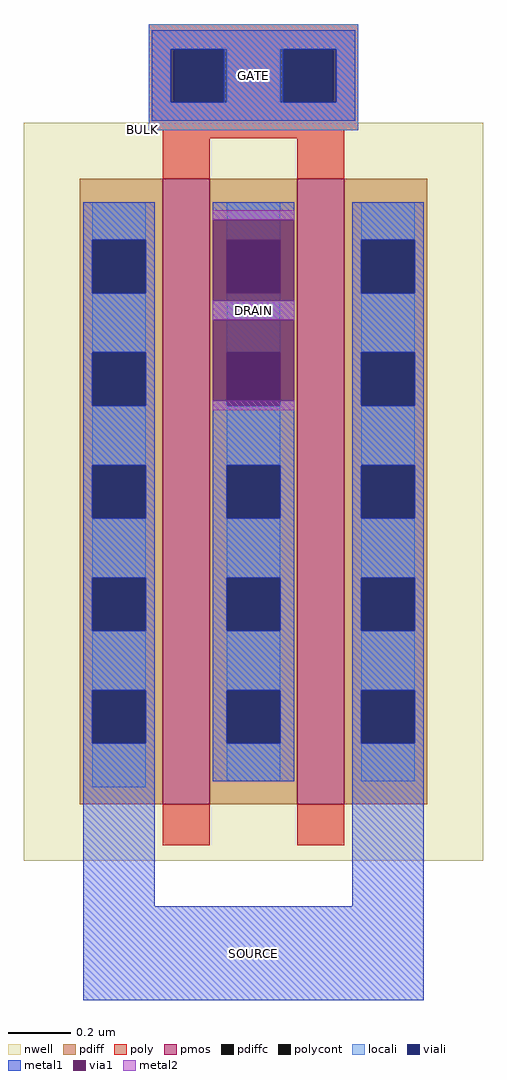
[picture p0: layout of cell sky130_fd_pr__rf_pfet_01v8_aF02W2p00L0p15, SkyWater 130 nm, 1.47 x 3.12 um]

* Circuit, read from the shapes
.subckt sky130_fd_pr__rf_pfet_01v8_aF02W2p00L0p15 DRAIN GATE SOURCE BULK
XM1 DRAIN GATE SOURCE BULK sky130_fd_pr__pfet_01v8 w=2 l=0.15 m=2
.ends

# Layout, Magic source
magic
tech sky130A
magscale 1 2
<< nwell >>
rect 0 0 294 472
<< pmos >>
rect 89 36 119 436
rect 175 36 205 436
<< pdiff >>
rect 36 397 89 436
rect 36 363 44 397
rect 78 363 89 397
rect 36 325 89 363
rect 36 291 44 325
rect 78 291 89 325
rect 36 253 89 291
rect 36 219 44 253
rect 78 219 89 253
rect 36 181 89 219
rect 36 147 44 181
rect 78 147 89 181
rect 36 109 89 147
rect 36 75 44 109
rect 78 75 89 109
rect 36 36 89 75
rect 119 397 175 436
rect 119 363 130 397
rect 164 363 175 397
rect 119 325 175 363
rect 119 291 130 325
rect 164 291 175 325
rect 119 253 175 291
rect 119 219 130 253
rect 164 219 175 253
rect 119 181 175 219
rect 119 147 130 181
rect 164 147 175 181
rect 119 109 175 147
rect 119 75 130 109
rect 164 75 175 109
rect 119 36 175 75
rect 205 397 258 436
rect 205 363 216 397
rect 250 363 258 397
rect 205 325 258 363
rect 205 291 216 325
rect 250 291 258 325
rect 205 253 258 291
rect 205 219 216 253
rect 250 219 258 253
rect 205 181 258 219
rect 205 147 216 181
rect 250 147 258 181
rect 205 109 258 147
rect 205 75 216 109
rect 250 75 258 109
rect 205 36 258 75
<< pdiffc >>
rect 44 363 78 397
rect 44 291 78 325
rect 44 219 78 253
rect 44 147 78 181
rect 44 75 78 109
rect 130 363 164 397
rect 130 291 164 325
rect 130 219 164 253
rect 130 147 164 181
rect 130 75 164 109
rect 216 363 250 397
rect 216 291 250 325
rect 216 219 250 253
rect 216 147 250 181
rect 216 75 250 109
<< poly >>
rect 80 519 214 535
rect 80 485 96 519
rect 130 485 164 519
rect 198 485 214 519
rect 80 467 214 485
rect 89 462 205 467
rect 89 436 119 462
rect 175 436 205 462
rect 89 10 119 36
rect 175 10 205 36
<< polycont >>
rect 96 485 130 519
rect 164 485 198 519
<< locali >>
rect 80 519 214 535
rect 80 485 94 519
rect 130 485 164 519
rect 200 485 214 519
rect 80 467 214 485
rect 44 397 78 421
rect 44 325 78 363
rect 44 253 78 291
rect 44 181 78 219
rect 44 109 78 147
rect 44 47 78 75
rect 130 397 164 421
rect 130 325 164 363
rect 130 253 164 291
rect 130 181 164 219
rect 130 109 164 147
rect 130 51 164 75
rect 216 397 250 421
rect 216 325 250 363
rect 216 253 250 291
rect 216 181 250 219
rect 216 109 250 147
rect 216 51 250 75
<< viali >>
rect 94 485 96 519
rect 96 485 128 519
rect 166 485 198 519
rect 198 485 200 519
rect 44 363 78 397
rect 44 291 78 325
rect 44 219 78 253
rect 44 147 78 181
rect 44 75 78 109
rect 130 363 164 397
rect 130 291 164 325
rect 130 219 164 253
rect 130 147 164 181
rect 130 75 164 109
rect 216 363 250 397
rect 216 291 250 325
rect 216 219 250 253
rect 216 147 250 181
rect 216 75 250 109
<< metal1 >>
rect 82 519 212 531
rect 82 485 94 519
rect 128 485 166 519
rect 200 485 212 519
rect 82 473 212 485
rect 38 397 84 421
rect 38 363 44 397
rect 78 363 84 397
rect 38 325 84 363
rect 38 291 44 325
rect 78 291 84 325
rect 38 253 84 291
rect 38 219 44 253
rect 78 219 84 253
rect 38 181 84 219
rect 38 147 44 181
rect 78 147 84 181
rect 38 109 84 147
rect 38 75 44 109
rect 78 75 84 109
rect 38 -29 84 75
rect 121 410 173 421
rect 121 346 173 358
rect 121 291 130 294
rect 164 291 173 294
rect 121 253 173 291
rect 121 219 130 253
rect 164 219 173 253
rect 121 181 173 219
rect 121 147 130 181
rect 164 147 173 181
rect 121 109 173 147
rect 121 75 130 109
rect 164 75 173 109
rect 121 51 173 75
rect 210 397 256 421
rect 210 363 216 397
rect 250 363 256 397
rect 210 325 256 363
rect 210 291 216 325
rect 250 291 256 325
rect 210 253 256 291
rect 210 219 216 253
rect 250 219 256 253
rect 210 181 256 219
rect 210 147 216 181
rect 250 147 256 181
rect 210 109 256 147
rect 210 75 216 109
rect 250 75 256 109
rect 210 -29 256 75
rect 38 -89 256 -29
<< via1 >>
rect 121 397 173 410
rect 121 363 130 397
rect 130 363 164 397
rect 164 363 173 397
rect 121 358 173 363
rect 121 325 173 346
rect 121 294 130 325
rect 130 294 164 325
rect 164 294 173 325
<< metal2 >>
rect 121 410 173 416
rect 121 346 173 358
rect 121 288 173 294
<< labels >>
flabel metal2 s 121 288 173 416 0 FreeSans 400 0 0 0 DRAIN
port 1 nsew
flabel metal1 s 82 473 212 531 0 FreeSans 400 0 0 0 GATE
port 2 nsew
flabel metal1 s 38 -89 256 -29 0 FreeSans 400 0 0 0 SOURCE
port 3 nsew
flabel nwell s 74 464 78 471 0 FreeSans 400 0 0 0 BULK
port 4 nsew
<< properties >>
string GDS_FILE $PDKPATH/libs.ref/sky130_fd_pr/gds/sky130_fd_pr.gds
string GDS_END 9181656
string GDS_START 9176656
string path 5.825 10.525 5.825 -2.225 
<< end >>
